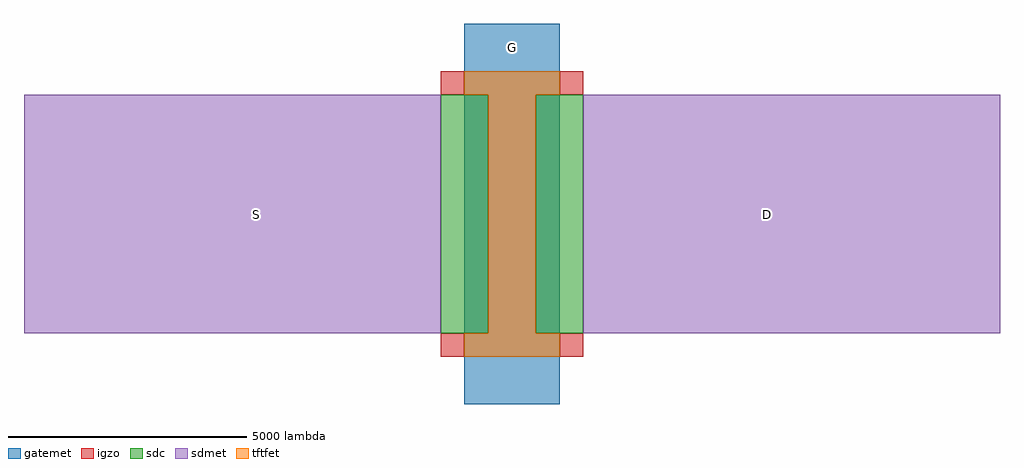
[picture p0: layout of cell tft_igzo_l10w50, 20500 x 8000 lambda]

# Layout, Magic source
magic
tech igzo_mmm_lab
<< igzo >>
rect -1500 2500 -1000 3000
rect 1000 2500 1500 3000
rect -1500 -3000 -1000 -2500
rect 1000 -3000 1500 -2500
<< tftfet >>
rect -1000 2500 1000 3000
rect -500 -2500 500 2500
rect -1000 -3000 1000 -2500
<< sdc >>
rect -1500 -2500 -500 2500
rect 500 -2500 1500 2500
<< sdmet >>
rect -10250 -2500 -1500 2500
rect 1500 -2500 10250 2500
<< gatemet >>
rect -1000 -4000 1000 4000
<< labels >>
rlabel sdmet s -5625 -250 -5125 250 4 S
port 3 nsew
rlabel sdmet s 5125 -250 5625 250 4 D
port 5 nsew
rlabel gatemet s -250 3250 250 3750 4 G
port 7 nsew
<< end >>
